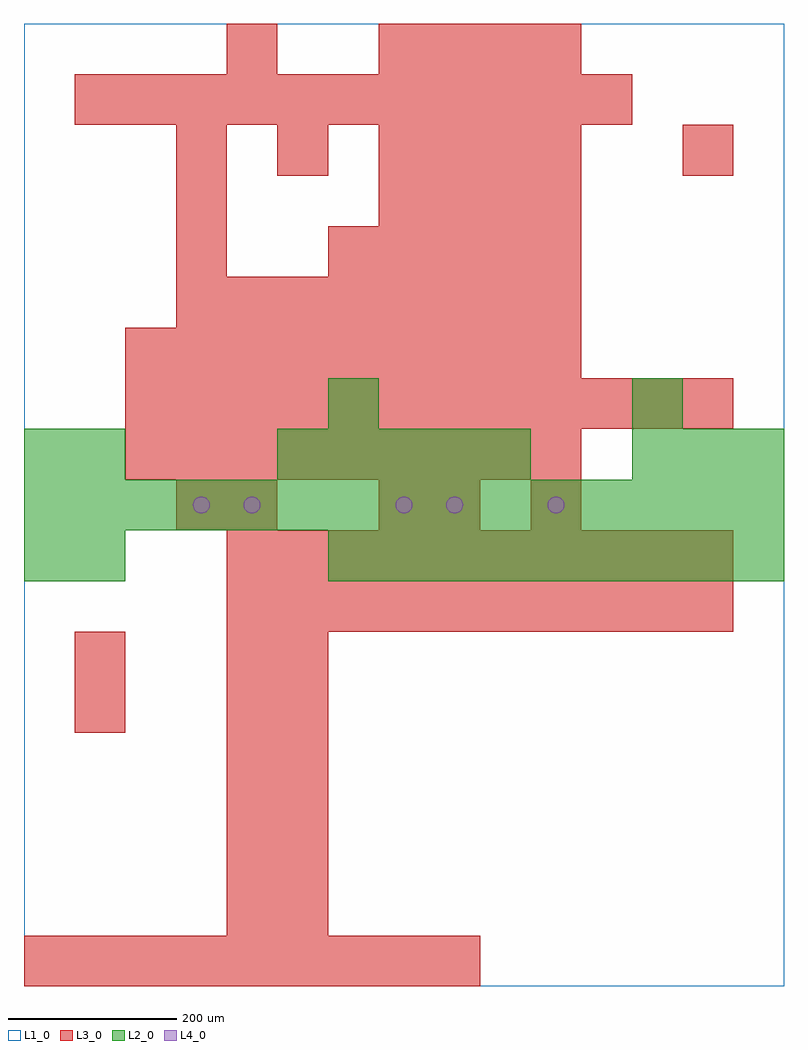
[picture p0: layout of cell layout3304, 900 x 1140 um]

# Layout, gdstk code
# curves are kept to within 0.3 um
import gdstk
lib = gdstk.Library(unit=1e-6, precision=1e-09)
def R(c, l, rs):  # rectangles x0, y0, x1, y1
    for r in rs: c.add(gdstk.rectangle(r[:2], r[2:], *l))
def A(c, l, x, y, w, h, nx, ny, dx, dy):  # array of equal rectangles
    R(c, l, [(x+i*dx, y+j*dy, x+i*dx+w, y+j*dy+h) for i in range(nx) for j in range(ny)])
def P(c, l, *ps):  # polygons
    for p in ps: c.add(gdstk.Polygon(p, *l))
L1_0 = (1, 0)
L2_0 = (2, 0)
L3_0 = (3, 0)
L4_0 = (4, 0)

layout3304 = lib.new_cell('layout3304')
R(layout3304, L1_0, [(0,0,900,1140)])
A(layout3304, L2_0, 360, 480, 60, 60, 9, 1, 60, 0)
A(layout3304, L2_0, 0, 540, 60, 60, 15, 1, 60, 0)
A(layout3304, L2_0, 300, 600, 60, 60, 5, 1, 60, 0)
A(layout3304, L2_0, 720, 600, 60, 60, 3, 1, 60, 0)
R(layout3304, L2_0, [(0,480,60,540), (60,480,120,540), (0,600,60,660), (60,600,120,660), (360,660,420,720), (720,660,780,720)])
A(layout3304, L3_0, 0, 0, 60, 60, 9, 1, 60, 0)
A(layout3304, L3_0, 240, 60, 60, 60, 1, 6, 0, 60)
A(layout3304, L3_0, 300, 60, 60, 60, 1, 6, 0, 60)
A(layout3304, L3_0, 240, 420, 60, 60, 10, 2, 60, 60)
A(layout3304, L3_0, 120, 600, 60, 60, 9, 2, 60, 120)
A(layout3304, L3_0, 120, 660, 60, 60, 12, 1, 60, 0)
A(layout3304, L3_0, 180, 780, 60, 60, 8, 1, 60, 0)
A(layout3304, L3_0, 360, 840, 60, 60, 5, 1, 60, 0)
A(layout3304, L3_0, 420, 900, 60, 60, 4, 2, 60, 180)
A(layout3304, L3_0, 180, 960, 60, 60, 3, 1, 120, 0)
A(layout3304, L3_0, 480, 960, 60, 60, 3, 1, 60, 0)
A(layout3304, L3_0, 60, 1020, 60, 60, 11, 1, 60, 0)
R(layout3304, L3_0, [(60,300,120,360), (60,360,120,420), (180,540,240,600), (240,540,300,600), (420,540,480,600), (480,540,540,600), (600,540,660,600), (180,840,240,900), (180,900,240,960), (780,960,840,1020), (240,1080,300,1140)])
P(layout3304, L4_0, [(220,570),(219.239,573.827),(217.071,577.071),(213.827,579.239),(210,580),(206.173,579.239),(202.929,577.071),(200.761,573.827),(200,570),(200.761,566.173),(202.929,562.929),(206.173,560.761),(210,560),(213.827,560.761),(217.071,562.929),(219.239,566.173)],
  [(280,570),(279.239,573.827),(277.071,577.071),(273.827,579.239),(270,580),(266.173,579.239),(262.929,577.071),(260.761,573.827),(260,570),(260.761,566.173),(262.929,562.929),(266.173,560.761),(270,560),(273.827,560.761),(277.071,562.929),(279.239,566.173)],
  [(460,570),(459.239,573.827),(457.071,577.071),(453.827,579.239),(450,580),(446.173,579.239),(442.929,577.071),(440.761,573.827),(440,570),(440.761,566.173),(442.929,562.929),(446.173,560.761),(450,560),(453.827,560.761),(457.071,562.929),(459.239,566.173)],
  [(520,570),(519.239,573.827),(517.071,577.071),(513.827,579.239),(510,580),(506.173,579.239),(502.929,577.071),(500.761,573.827),(500,570),(500.761,566.173),(502.929,562.929),(506.173,560.761),(510,560),(513.827,560.761),(517.071,562.929),(519.239,566.173)],
  [(640,570),(639.239,573.827),(637.071,577.071),(633.827,579.239),(630,580),(626.173,579.239),(622.929,577.071),(620.761,573.827),(620,570),(620.761,566.173),(622.929,562.929),(626.173,560.761),(630,560),(633.827,560.761),(637.071,562.929),(639.239,566.173)])

lib.write_gds('layout3304.gds')
